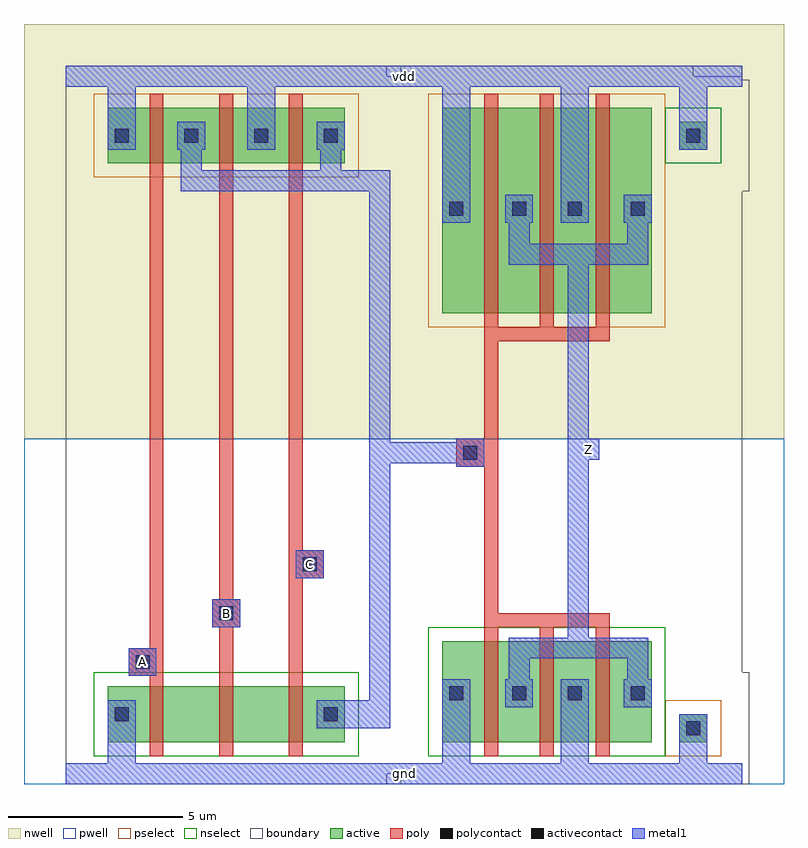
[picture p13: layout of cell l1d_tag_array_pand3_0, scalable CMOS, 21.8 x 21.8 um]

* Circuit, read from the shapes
.subckt l1d_tag_array_pand3_0 A B C Z gnd vdd
M1 l1d_tag_array_pnand3_0_0/l1d_tag_array_nmos_m1_w1_600_sm1_dactive_3/D A gnd gnd nfet w=1.6u l=0.4u
M2 l1d_tag_array_pnand3_0_0/l1d_tag_array_nmos_m1_w1_600_sactive_dactive_4/D B l1d_tag_array_pnand3_0_0/l1d_tag_array_nmos_m1_w1_600_sm1_dactive_3/D gnd nfet w=1.6u l=0.4u
M3 l1d_tag_array_pdriver_3_1/A C l1d_tag_array_pnand3_0_0/l1d_tag_array_nmos_m1_w1_600_sactive_dactive_4/D gnd nfet w=1.6u l=0.4u
M4 Z l1d_tag_array_pdriver_3_1/A gnd gnd nfet w=2.9u l=0.4u m=3
M5 l1d_tag_array_pdriver_3_1/A A vdd vdd pfet w=1.6u l=0.4u
M6 vdd B l1d_tag_array_pdriver_3_1/A vdd pfet w=1.6u l=0.4u
M7 l1d_tag_array_pdriver_3_1/A C vdd vdd pfet w=1.6u l=0.4u
M8 Z l1d_tag_array_pdriver_3_1/A vdd vdd pfet w=5.9u l=0.4u m=3
.ends

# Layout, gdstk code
import gdstk
lib = gdstk.Library(unit=1e-6, precision=1e-09)
def R(c, l, rs):  # rectangles x0, y0, x1, y1
    for r in rs: c.add(gdstk.rectangle(r[:2], r[2:], *l))
def A(c, l, x, y, w, h, nx, ny, dx, dy):  # array of equal rectangles
    R(c, l, [(x+i*dx, y+j*dy, x+i*dx+w, y+j*dy+h) for i in range(nx) for j in range(ny)])
pwell = (41, 0)
nwell = (42, 0)
active = (43, 0)
pselect = (44, 0)
nselect = (45, 0)
poly = (46, 0)
polycontact = (47, 0)
activecontact = (48, 0)
metal1 = (49, 0)
boundary = (63, 0)

l1d_tag_array_contact_11 = lib.new_cell('l1d_tag_array_contact_11')
R(l1d_tag_array_contact_11, nwell, [(-1.2,-1.2,2,2)])
R(l1d_tag_array_contact_11, active, [(0,0,0.8,0.8)])
R(l1d_tag_array_contact_11, pselect, [(-0.4,-0.4,1.2,1.2)])
R(l1d_tag_array_contact_11, activecontact, [(0.2,0.2,0.6,0.6)])
R(l1d_tag_array_contact_11, metal1, [(0,0,0.8,0.8)])
R(l1d_tag_array_contact_11, boundary, [(-1.2,-1.2,2,2)])

l1d_tag_array_pmos_m1_w1 = lib.new_cell('l1d_tag_array_pmos_m1_w1_600_sm1_dm1')
R(l1d_tag_array_pmos_m1_w1, nwell, [(-1.2,-1.2,4,2.8)])
R(l1d_tag_array_pmos_m1_w1, active, [(0,0,2.8,1.6)])
R(l1d_tag_array_pmos_m1_w1, pselect, [(-0.4,-0.4,3.2,2)])
R(l1d_tag_array_pmos_m1_w1, poly, [(1.2,-0.4,1.6,2), (1.2,-0.4,1.6,2)])
R(l1d_tag_array_pmos_m1_w1, metal1, [(0,0.4,0.8,1.2), (2,0.4,2.8,1.2)])
R(l1d_tag_array_pmos_m1_w1, boundary, [(-1.2,-1.2,4,2.8)])
l1d_tag_array_pmos_m1_w1.add(gdstk.Reference(l1d_tag_array_contact_11, (0,0.4)))
l1d_tag_array_pmos_m1_w1.add(gdstk.Reference(l1d_tag_array_contact_11, (2,0.4)))
l1d_tag_array_pmos_m1_w1.add(gdstk.Label('G', (1.4,0.8), layer=46, texttype=0))
l1d_tag_array_pmos_m1_w1.add(gdstk.Label('S', (0.4,0.8), layer=49, texttype=0))
l1d_tag_array_pmos_m1_w1.add(gdstk.Label('D', (2.4,0.8), layer=49, texttype=0))

l1d_tag_array_contact_10 = lib.new_cell('l1d_tag_array_contact_10')
R(l1d_tag_array_contact_10, pwell, [(-1.2,-1.2,2,2)])
R(l1d_tag_array_contact_10, active, [(0,0,0.8,0.8)])
R(l1d_tag_array_contact_10, nselect, [(-0.4,-0.4,1.2,1.2)])
R(l1d_tag_array_contact_10, activecontact, [(0.2,0.2,0.6,0.6)])
R(l1d_tag_array_contact_10, metal1, [(0,0,0.8,0.8)])
R(l1d_tag_array_contact_10, boundary, [(-1.2,-1.2,2,2)])

l1d_tag_array_nmos_m1_w1 = lib.new_cell('l1d_tag_array_nmos_m1_w1_600_sm1_dactive')
R(l1d_tag_array_nmos_m1_w1, pwell, [(-1.2,-1.2,4,2.8)])
R(l1d_tag_array_nmos_m1_w1, active, [(0,0,2.8,1.6), (2.1,0.5,2.7,1.1)])
R(l1d_tag_array_nmos_m1_w1, nselect, [(-0.4,-0.4,3.2,2)])
R(l1d_tag_array_nmos_m1_w1, poly, [(1.2,-0.4,1.6,2), (1.2,-0.4,1.6,2)])
R(l1d_tag_array_nmos_m1_w1, metal1, [(0,0.4,0.8,1.2)])
R(l1d_tag_array_nmos_m1_w1, boundary, [(-1.2,-1.2,4,2.8)])
l1d_tag_array_nmos_m1_w1.add(gdstk.Reference(l1d_tag_array_contact_10, (0,0.4)))
l1d_tag_array_nmos_m1_w1.add(gdstk.Label('G', (1.4,0.8), layer=46, texttype=0))
l1d_tag_array_nmos_m1_w1.add(gdstk.Label('S', (0.4,0.8), layer=49, texttype=0))
l1d_tag_array_nmos_m1_w1.add(gdstk.Label('D', (2.4,0.8), layer=43, texttype=0))

c_l1d_tag_array_nmos_m1_w1 = lib.new_cell('l1d_tag_array_nmos_m1_w1_600_sactive_dactive')
R(c_l1d_tag_array_nmos_m1_w1, pwell, [(-1.2,-1.2,4,2.8)])
R(c_l1d_tag_array_nmos_m1_w1, active, [(0,0,2.8,1.6), (0.1,0.5,0.7,1.1), (2.1,0.5,2.7,1.1)])
R(c_l1d_tag_array_nmos_m1_w1, nselect, [(-0.4,-0.4,3.2,2)])
R(c_l1d_tag_array_nmos_m1_w1, poly, [(1.2,-0.4,1.6,2), (1.2,-0.4,1.6,2)])
R(c_l1d_tag_array_nmos_m1_w1, boundary, [(-1.2,-1.2,4,2.8)])
c_l1d_tag_array_nmos_m1_w1.add(gdstk.Label('G', (1.4,0.8), layer=46, texttype=0))
c_l1d_tag_array_nmos_m1_w1.add(gdstk.Label('S', (0.4,0.8), layer=43, texttype=0))
c_l1d_tag_array_nmos_m1_w1.add(gdstk.Label('D', (2.4,0.8), layer=43, texttype=0))

c_l1d_tag_array_nmos_m1_w1_ = lib.new_cell('l1d_tag_array_nmos_m1_w1_600_sactive_dm1')
R(c_l1d_tag_array_nmos_m1_w1_, pwell, [(-1.2,-1.2,4,2.8)])
R(c_l1d_tag_array_nmos_m1_w1_, active, [(0,0,2.8,1.6), (0.1,0.5,0.7,1.1)])
R(c_l1d_tag_array_nmos_m1_w1_, nselect, [(-0.4,-0.4,3.2,2)])
R(c_l1d_tag_array_nmos_m1_w1_, poly, [(1.2,-0.4,1.6,2), (1.2,-0.4,1.6,2)])
R(c_l1d_tag_array_nmos_m1_w1_, metal1, [(2,0.4,2.8,1.2)])
R(c_l1d_tag_array_nmos_m1_w1_, boundary, [(-1.2,-1.2,4,2.8)])
c_l1d_tag_array_nmos_m1_w1_.add(gdstk.Reference(l1d_tag_array_contact_10, (2,0.4)))
c_l1d_tag_array_nmos_m1_w1_.add(gdstk.Label('G', (1.4,0.8), layer=46, texttype=0))
c_l1d_tag_array_nmos_m1_w1_.add(gdstk.Label('S', (0.4,0.8), layer=43, texttype=0))
c_l1d_tag_array_nmos_m1_w1_.add(gdstk.Label('D', (2.4,0.8), layer=49, texttype=0))

l1d_tag_array_contact_14 = lib.new_cell('l1d_tag_array_contact_14')
R(l1d_tag_array_contact_14, poly, [(0,0,0.8,0.8)])
R(l1d_tag_array_contact_14, polycontact, [(0.2,0.2,0.6,0.6)])
R(l1d_tag_array_contact_14, metal1, [(0,0,0.8,0.8)])
R(l1d_tag_array_contact_14, boundary, [(0,0,0.8,0.8)])

l1d_tag_array_pnand3_0 = lib.new_cell('l1d_tag_array_pnand3_0')
R(l1d_tag_array_pnand3_0, pwell, [(-1.2,-0.3,10.8,9.6)])
R(l1d_tag_array_pnand3_0, nwell, [(-1.2,9.6,10.8,21.5)])
A(l1d_tag_array_pnand3_0, poly, 2.4, 2.9, 0.4, 14.2, 3, 1, 2, 0)
R(l1d_tag_array_pnand3_0, poly, [(2.2,2.8,2.4,3.6), (4.4,4.2,4.6,5), (6.4,5.6,7,6.4)])
R(l1d_tag_array_pnand3_0, metal1, [(0,-0.3,9.6,0.3), (1.2,-0.3,2,1.3), (7.6,1.3,9,2.1), (8.7,1.3,9.3,17), (1.8,2.8,2.6,3.6), (4.2,4.2,5,5), (6.6,5.6,7.4,6.4), (3.3,16.7,3.9,17.3), (3.6,16.7,9,17.3), (7.3,16.7,7.9,17.3), (7.6,16.7,9,17.3), (8.7,16.7,9.3,17.3), (3.3,17,3.9,18.3), (7.3,17,7.9,18.3), (1.2,17.9,2,20.3), (5.2,17.9,6,20.3), (0,19.7,9.6,20.3)])
R(l1d_tag_array_pnand3_0, boundary, [(0,0,9.6,20), (0,0,9.6,20)])
l1d_tag_array_pnand3_0.add(gdstk.Reference(l1d_tag_array_pmos_m1_w1, (1.2,17.5)))
l1d_tag_array_pnand3_0.add(gdstk.Reference(l1d_tag_array_pmos_m1_w1, (3.2,17.5)))
l1d_tag_array_pnand3_0.add(gdstk.Reference(l1d_tag_array_pmos_m1_w1, (5.2,17.5)))
l1d_tag_array_pnand3_0.add(gdstk.Reference(l1d_tag_array_nmos_m1_w1, (1.2,0.9)))
l1d_tag_array_pnand3_0.add(gdstk.Reference(c_l1d_tag_array_nmos_m1_w1, (3.2,0.9)))
l1d_tag_array_pnand3_0.add(gdstk.Reference(c_l1d_tag_array_nmos_m1_w1_, (5.2,0.9)))
l1d_tag_array_pnand3_0.add(gdstk.Reference(l1d_tag_array_contact_14, (1.8,2.8)))
l1d_tag_array_pnand3_0.add(gdstk.Reference(l1d_tag_array_contact_14, (4.2,4.2)))
l1d_tag_array_pnand3_0.add(gdstk.Reference(l1d_tag_array_contact_14, (6.6,5.6)))
l1d_tag_array_pnand3_0.add(gdstk.Label('A', (2.2,3.2), layer=49, texttype=0))
l1d_tag_array_pnand3_0.add(gdstk.Label('B', (4.6,4.6), layer=49, texttype=0))
l1d_tag_array_pnand3_0.add(gdstk.Label('C', (7,6), layer=49, texttype=0))
l1d_tag_array_pnand3_0.add(gdstk.Label('Z', (9,17), layer=49, texttype=0))
l1d_tag_array_pnand3_0.add(gdstk.Label('gnd', (4.8,0), layer=49, texttype=0))
l1d_tag_array_pnand3_0.add(gdstk.Label('vdd', (4.8,20), layer=49, texttype=0))

l1d_tag_array_pmos_m3_w5 = lib.new_cell('l1d_tag_array_pmos_m3_w5_900_sm1_dm1_da_p')
R(l1d_tag_array_pmos_m3_w5, nwell, [(-1.2,-1.2,7.2,7.1)])
R(l1d_tag_array_pmos_m3_w5, active, [(0,0,6,5.9)])
R(l1d_tag_array_pmos_m3_w5, pselect, [(-0.4,-0.4,6.4,6.3)])
A(l1d_tag_array_pmos_m3_w5, poly, 1.2, -0.4, 0.4, 6.7, 3, 1, 1.6, 0)
R(l1d_tag_array_pmos_m3_w5, poly, [(1.2,-0.8,4.8,-0.4)])
R(l1d_tag_array_pmos_m3_w5, metal1, [(1.9,1.4,5.9,2), (1.9,1.6,2.5,3), (5.3,1.6,5.9,3), (0,2.6,0.8,3.4), (3.4,2.6,4.2,3.4)])
R(l1d_tag_array_pmos_m3_w5, boundary, [(-1.2,-1.2,7.2,7.1)])
l1d_tag_array_pmos_m3_w5.add(gdstk.Reference(l1d_tag_array_contact_11, (0,2.6)))
l1d_tag_array_pmos_m3_w5.add(gdstk.Reference(l1d_tag_array_contact_11, (1.8,2.6)))
l1d_tag_array_pmos_m3_w5.add(gdstk.Reference(l1d_tag_array_contact_11, (3.4,2.6)))
l1d_tag_array_pmos_m3_w5.add(gdstk.Reference(l1d_tag_array_contact_11, (5.2,2.6)))
l1d_tag_array_pmos_m3_w5.add(gdstk.Label('G', (3,-0.6), layer=46, texttype=0))
l1d_tag_array_pmos_m3_w5.add(gdstk.Label('S', (0.4,3), layer=49, texttype=0))
l1d_tag_array_pmos_m3_w5.add(gdstk.Label('S', (3.8,3), layer=49, texttype=0))
l1d_tag_array_pmos_m3_w5.add(gdstk.Label('D', (3.9,1.7), layer=49, texttype=0))

l1d_tag_array_nmos_m3_w2 = lib.new_cell('l1d_tag_array_nmos_m3_w2_900_sm1_dm1_da_p')
R(l1d_tag_array_nmos_m3_w2, pwell, [(-1.2,-1.2,7.2,4.1)])
R(l1d_tag_array_nmos_m3_w2, active, [(0,0,6,2.9)])
R(l1d_tag_array_nmos_m3_w2, nselect, [(-0.4,-0.4,6.4,3.3)])
A(l1d_tag_array_nmos_m3_w2, poly, 1.2, -0.4, 0.4, 3.7, 3, 1, 1.6, 0)
R(l1d_tag_array_nmos_m3_w2, poly, [(1.2,3.3,4.8,3.7)])
R(l1d_tag_array_nmos_m3_w2, metal1, [(0,1,0.8,1.8), (3.4,1,4.2,1.8), (1.9,1.4,2.5,2.8), (5.3,1.4,5.9,2.8), (1.9,2.4,5.9,3)])
R(l1d_tag_array_nmos_m3_w2, boundary, [(-1.2,-1.2,7.2,4.1)])
l1d_tag_array_nmos_m3_w2.add(gdstk.Reference(l1d_tag_array_contact_10, (0,1)))
l1d_tag_array_nmos_m3_w2.add(gdstk.Reference(l1d_tag_array_contact_10, (1.8,1)))
l1d_tag_array_nmos_m3_w2.add(gdstk.Reference(l1d_tag_array_contact_10, (3.4,1)))
l1d_tag_array_nmos_m3_w2.add(gdstk.Reference(l1d_tag_array_contact_10, (5.2,1)))
l1d_tag_array_nmos_m3_w2.add(gdstk.Label('G', (3,3.5), layer=46, texttype=0))
l1d_tag_array_nmos_m3_w2.add(gdstk.Label('S', (0.4,1.4), layer=49, texttype=0))
l1d_tag_array_nmos_m3_w2.add(gdstk.Label('S', (3.8,1.4), layer=49, texttype=0))
l1d_tag_array_nmos_m3_w2.add(gdstk.Label('D', (3.9,2.7), layer=49, texttype=0))

l1d_tag_array_contact_12 = lib.new_cell('l1d_tag_array_contact_12')
R(l1d_tag_array_contact_12, nwell, [(-1.2,-1.2,2,2)])
R(l1d_tag_array_contact_12, active, [(0,0,0.8,0.8)])
R(l1d_tag_array_contact_12, nselect, [(-0.4,-0.4,1.2,1.2)])
R(l1d_tag_array_contact_12, activecontact, [(0.2,0.2,0.6,0.6)])
R(l1d_tag_array_contact_12, metal1, [(0,0,0.8,0.8)])
R(l1d_tag_array_contact_12, boundary, [(-1.2,-1.2,2,2)])

l1d_tag_array_contact_13 = lib.new_cell('l1d_tag_array_contact_13')
R(l1d_tag_array_contact_13, pwell, [(-1.2,-1.2,2,2)])
R(l1d_tag_array_contact_13, active, [(0,0,0.8,0.8)])
R(l1d_tag_array_contact_13, pselect, [(-0.4,-0.4,1.2,1.2)])
R(l1d_tag_array_contact_13, activecontact, [(0.2,0.2,0.6,0.6)])
R(l1d_tag_array_contact_13, metal1, [(0,0,0.8,0.8)])
R(l1d_tag_array_contact_13, boundary, [(-1.2,-1.2,2,2)])

l1d_tag_array_pinv_9 = lib.new_cell('l1d_tag_array_pinv_9')
R(l1d_tag_array_pinv_9, pwell, [(-1.2,-0.3,11,9.6)])
R(l1d_tag_array_pinv_9, nwell, [(-1.2,9.6,11,21.5)])
R(l1d_tag_array_pinv_9, poly, [(2.4,4.6,2.8,12.4), (2,8.8,2.4,9.6)])
R(l1d_tag_array_pinv_9, metal1, [(0,-0.3,9.8,0.3), (1.2,-0.3,2,1.9), (4.6,-0.3,5.4,1.9), (8,0,8.8,1.3), (4.8,3.3,5.4,15.2), (1.6,8.8,2.4,9.6), (5.1,9,5.7,9.6), (1.2,15.8,2,20.3), (4.6,15.8,5.4,20.3), (8,18.3,8.8,20), (0,19.7,9.8,20.3)])
R(l1d_tag_array_pinv_9, boundary, [(0,0,9.8,20), (0,0,9.8,20)])
l1d_tag_array_pinv_9.add(gdstk.Reference(l1d_tag_array_pmos_m3_w5, (1.2,13.2)))
l1d_tag_array_pinv_9.add(gdstk.Reference(l1d_tag_array_nmos_m3_w2, (1.2,0.9)))
l1d_tag_array_pinv_9.add(gdstk.Reference(l1d_tag_array_contact_12, (8,17.9)))
l1d_tag_array_pinv_9.add(gdstk.Reference(l1d_tag_array_contact_13, (8,0.9)))
l1d_tag_array_pinv_9.add(gdstk.Reference(l1d_tag_array_contact_14, (1.6,8.8)))
l1d_tag_array_pinv_9.add(gdstk.Label('A', (2,9.2), layer=49, texttype=0))
l1d_tag_array_pinv_9.add(gdstk.Label('Z', (5.4,9.3), layer=49, texttype=0))
l1d_tag_array_pinv_9.add(gdstk.Label('gnd', (4.9,0), layer=49, texttype=0))
l1d_tag_array_pinv_9.add(gdstk.Label('vdd', (4.9,20), layer=49, texttype=0))

l1d_tag_array_pdriver_3 = lib.new_cell('l1d_tag_array_pdriver_3')
R(l1d_tag_array_pdriver_3, pwell, [(-1.2,-0.3,11,9.6)])
R(l1d_tag_array_pdriver_3, nwell, [(-1.2,9.6,11,21.5)])
R(l1d_tag_array_pdriver_3, metal1, [(0,-0.3,9.8,0.3), (1.6,8.8,2.4,9.6), (5.1,9,5.7,9.6), (0,19.7,9.8,20.3)])
R(l1d_tag_array_pdriver_3, boundary, [(0,0,9.8,20), (0,0,9.8,20)])
l1d_tag_array_pdriver_3.add(gdstk.Reference(l1d_tag_array_pinv_9, (0,0)))
l1d_tag_array_pdriver_3.add(gdstk.Label('Z', (5.4,9.3), layer=49, texttype=0))
l1d_tag_array_pdriver_3.add(gdstk.Label('A', (2,9.2), layer=49, texttype=0))
l1d_tag_array_pdriver_3.add(gdstk.Label('gnd', (4.9,0), layer=49, texttype=0))
l1d_tag_array_pdriver_3.add(gdstk.Label('vdd', (4.9,20), layer=49, texttype=0))

l1d_tag_array_pand3_0 = lib.new_cell('l1d_tag_array_pand3_0')
R(l1d_tag_array_pand3_0, metal1, [(0,-0.3,19.4,0.3), (1.8,2.8,2.6,3.6), (4.2,4.2,5,5), (6.6,5.6,7.4,6.4), (8.7,8.9,9.3,9.5), (9,8.9,11.6,9.5), (14.7,9,15.3,9.6), (8.7,9.2,9.3,17), (0,19.7,19.4,20.3)])
R(l1d_tag_array_pand3_0, boundary, [(0,0,19.4,20), (0,0,19.4,20)])
l1d_tag_array_pand3_0.add(gdstk.Reference(l1d_tag_array_pnand3_0, (0,0)))
l1d_tag_array_pand3_0.add(gdstk.Reference(l1d_tag_array_pdriver_3, (9.6,0)))
l1d_tag_array_pand3_0.add(gdstk.Label('Z', (15,9.3), layer=49, texttype=0))
l1d_tag_array_pand3_0.add(gdstk.Label('A', (2.2,3.2), layer=49, texttype=0))
l1d_tag_array_pand3_0.add(gdstk.Label('B', (4.6,4.6), layer=49, texttype=0))
l1d_tag_array_pand3_0.add(gdstk.Label('C', (7,6), layer=49, texttype=0))
l1d_tag_array_pand3_0.add(gdstk.Label('gnd', (9.7,0), layer=49, texttype=0))
l1d_tag_array_pand3_0.add(gdstk.Label('vdd', (9.7,20), layer=49, texttype=0))

lib.write_gds('l1d_tag_array_pand3_0.gds')
